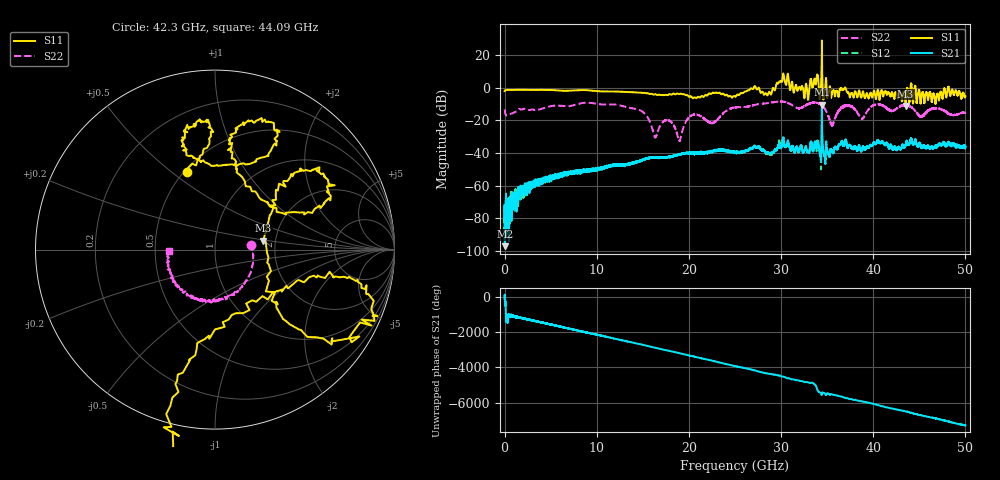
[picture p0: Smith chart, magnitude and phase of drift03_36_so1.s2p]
!Created with skrf (http://scikit-rf.org).
# Hz S RI R 50.0
!freq ReS11 ImS11 ReS21 ImS21 ReS12 ImS12 ReS22 ImS22
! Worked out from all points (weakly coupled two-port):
!   10000 points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, 5.3 MHz to 50 GHz, reference 50 ohm
!   highest |S21| = -10.43 dB at 34.43 GHz (marker M1); lowest = -97.2 dB at 30.3 MHz (marker M2)
!   lowest |S11| = -11.3 dB at 43.51 GHz (marker M3), VSWR 1.75, Z = 86.2 + j9.21 ohm
!   |S11| at or under -10 dB: 43.49334 GHz to 43.54124 GHz (47.9 MHz wide, 0.11 % of centre)
!   |S22| runs from -32.8 to -8.4 dB; largest |S21 - S12| = 0.091
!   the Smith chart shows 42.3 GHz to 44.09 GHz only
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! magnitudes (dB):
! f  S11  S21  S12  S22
! 5.3 MHz  -2.1  -71.9  -72.5  -13.3
! 30.3 MHz  -1.8  -97.2  -78.3  -14.1
! 3.035 GHz  -1.4  -59.0  -58.9  -13.4
! 8.34 GHz  -1.5  -50.9  -51.1  -9.5
! 14.55 GHz  -3.1  -45.2  -45.2  -13.5
! 16.67 GHz  -4.4  -42.7  -42.9  -26.1
! 17.8 GHz  -4.2  -42.5  -42.6  -20.0
! 18.98 GHz  -3.9  -40.8  -41.1  -32.7
! 20.28 GHz  -5.5  -40.3  -40.3  -17.1
! 22.57 GHz  -3.1  -39.2  -39.0  -21.8
! 25.01 GHz  -5.5  -39.9  -39.7  -12.1
! 28.72 GHz  -2.5  -40.5  -40.5  -9.4
! 30.14 GHz  4.4  -33.6  -33.8  -8.5
! 33.34 GHz  2.5  -35.0  -35.5  -9.3
! 34.43 GHz  28.9  -10.4  -12.2  -10.9
! 35.53 GHz  -3.3  -39.1  -39.2  -23.2
! 36.99 GHz  0.0  -32.4  -32.3  -11.1
! 38.77 GHz  -5.1  -38.1  -38.1  -19.0
! 40.19 GHz  -3.7  -34.3  -34.2  -10.4
! 41.67 GHz  -3.0  -36.8  -36.8  -13.3
! 43.51 GHz  -11.3  -34.9  -35.1  -10.8
! 50 GHz  -5.3  -36.4  -36.1  -15.5
